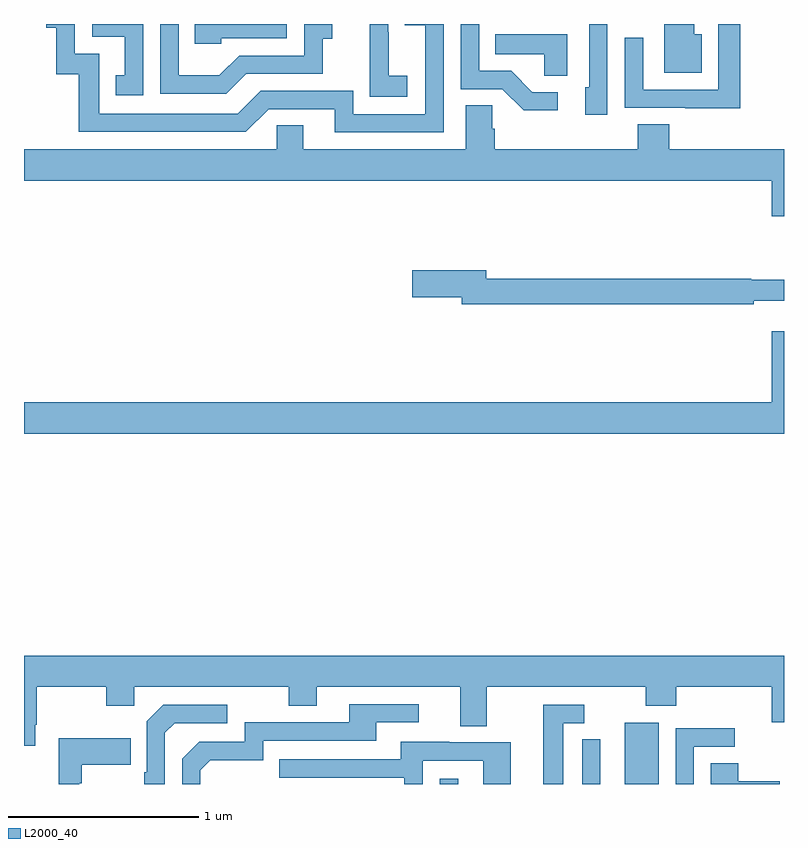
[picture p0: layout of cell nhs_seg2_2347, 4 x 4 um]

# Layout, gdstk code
import gdstk
lib = gdstk.Library(unit=1e-6, precision=1e-09)
def R(c, l, rs):  # rectangles x0, y0, x1, y1
    for r in rs: c.add(gdstk.rectangle(r[:2], r[2:], *l))
def P(c, l, *ps):  # polygons
    for p in ps: c.add(gdstk.Polygon(p, *l))
L2000_40 = (2000, 40)

nhs_seg2_2347 = lib.new_cell('nhs_seg2_2347')
R(nhs_seg2_2347, L2000_40, [(235.188,637.8,235.285,637.828), (236.162,637.8,236.341,638.122)])
P(nhs_seg2_2347, L2000_40, [(235.209,641.8),(235.003,641.8),(235.003,641.794),(235.113,641.794),(235.113,641.325),(234.732,641.325),(234.732,641.448),(234.246,641.448),(234.126,641.328),(233.397,641.328),(233.397,641.643),(233.268,641.643),(233.268,641.8),(233.118,641.8),(233.118,641.781),(233.171,641.781),(233.171,641.535),(233.289,641.535),(233.289,641.232),(234.168,641.232),(234.288,641.352),(234.635,641.352),(234.635,641.229),(235.209,641.229)],
  [(236.566,641.746),(236.527,641.746),(236.527,641.8),(236.369,641.8),(236.369,641.543),(236.566,641.543)],
  [(236.771,641.8),(236.655,641.8),(236.655,641.454),(236.259,641.454),(236.259,641.728),(236.163,641.728),(236.163,641.358),(236.479,641.358),(236.479,641.357),(236.771,641.357)],
  [(234.169,641.538),(234.573,641.538),(234.573,641.723),(234.622,641.723),(234.622,641.8),(234.474,641.8),(234.474,641.634),(234.132,641.634),(234.028,641.53),(233.814,641.53),(233.814,641.8),(233.718,641.8),(233.718,641.433),(234.064,641.433)],
  [(236.07,641.8),(235.974,641.8),(235.974,641.466),(235.955,641.466),(235.955,641.322),(236.07,641.322)],
  [(234.039,641.724),(234.384,641.724),(234.384,641.8),(233.899,641.8),(233.899,641.697),(234.039,641.697)],
  [(235.018,641.527),(234.92,641.527),(234.92,641.756),(234.918,641.756),(234.918,641.8),(234.821,641.8),(234.821,641.623),(234.82,641.623),(234.82,641.417),(235.018,641.417)],
  [(235.81,641.442),(235.675,641.442),(235.564,641.553),(235.395,641.553),(235.395,641.8),(235.299,641.8),(235.299,641.457),(235.518,641.457),(235.631,641.345),(235.81,641.345)],
  [(233.628,641.8),(233.358,641.8),(233.358,641.733),(233.531,641.733),(233.531,641.529),(233.482,641.529),(233.482,641.424),(233.628,641.424)],
  [(235.858,641.746),(235.48,641.746),(235.48,641.642),(235.737,641.642),(235.737,641.527),(235.858,641.527)],
  [(237,641.14),(236.396,641.14),(236.396,641.273),(236.231,641.273),(236.231,641.14),(235.478,641.14),(235.478,641.249),(235.464,641.249),(235.464,641.372),(235.325,641.372),(235.325,641.14),(234.469,641.14),(234.469,641.267),(234.33,641.267),(234.33,641.14),(233,641.14),(233,640.976),(236.936,640.976),(236.936,640.788),(237,640.788)],
  [(236.84,640.343),(237,640.343),(237,640.453),(236.828,640.453),(236.828,640.46),(235.432,640.46),(235.432,640.503),(235.044,640.503),(235.044,640.361),(235.304,640.361),(235.304,640.324),(236.84,640.324)],
  [(237,640.183),(236.936,640.183),(236.936,639.808),(233,639.808),(233,639.644),(237,639.644)],
  [(233.059,638.113),(233.067,638.113),(233.067,638.312),(233.434,638.312),(233.434,638.213),(233.58,638.213),(233.58,638.312),(234.394,638.312),(234.394,638.213),(234.541,638.213),(234.541,638.312),(235.295,638.312),(235.295,638.104),(235.435,638.104),(235.435,638.312),(236.272,638.312),(236.272,638.213),(236.432,638.213),(236.432,638.312),(236.936,638.312),(236.936,638.124),(237,638.124),(237,638.476),(233,638.476),(233,638.001),(233.059,638.001)],
  [(233.928,637.872),(233.981,637.925),(234.258,637.925),(234.258,638.028),(234.853,638.028),(234.853,638.124),(235.078,638.124),(235.078,638.22),(234.713,638.22),(234.713,638.124),(234.162,638.124),(234.162,638.022),(233.922,638.022),(233.832,637.932),(233.832,637.8),(233.928,637.8)],
  [(233.742,638.07),(233.793,638.121),(234.07,638.121),(234.07,638.217),(233.733,638.217),(233.646,638.13),(233.646,637.861),(233.634,637.861),(233.634,637.8),(233.742,637.8)],
  [(235.837,638.121),(235.948,638.121),(235.948,638.217),(235.733,638.217),(235.733,637.8),(235.837,637.8)],
  [(236.526,637.995),(236.74,637.995),(236.74,638.094),(236.43,638.094),(236.43,637.8),(236.526,637.8)],
  [(233.292,637.805),(233.305,637.805),(233.305,637.901),(233.561,637.901),(233.561,638.041),(233.184,638.041),(233.184,637.8),(233.292,637.8)],
  [(236.033,637.882),(236.034,637.882),(236.034,638.036),(235.938,638.036),(235.938,637.8),(236.033,637.8)],
  [(235.098,637.923),(235.416,637.923),(235.416,637.8),(235.561,637.8),(235.561,638.019),(235.237,638.019),(235.237,638.023),(234.983,638.023),(234.983,637.929),(234.343,637.929),(234.343,637.833),(235.002,637.833),(235.002,637.8),(235.098,637.8)],
  [(236.977,637.815),(236.759,637.815),(236.759,637.91),(236.615,637.91),(236.615,637.8),(236.977,637.8)])

lib.write_gds('nhs_seg2_2347.gds')
